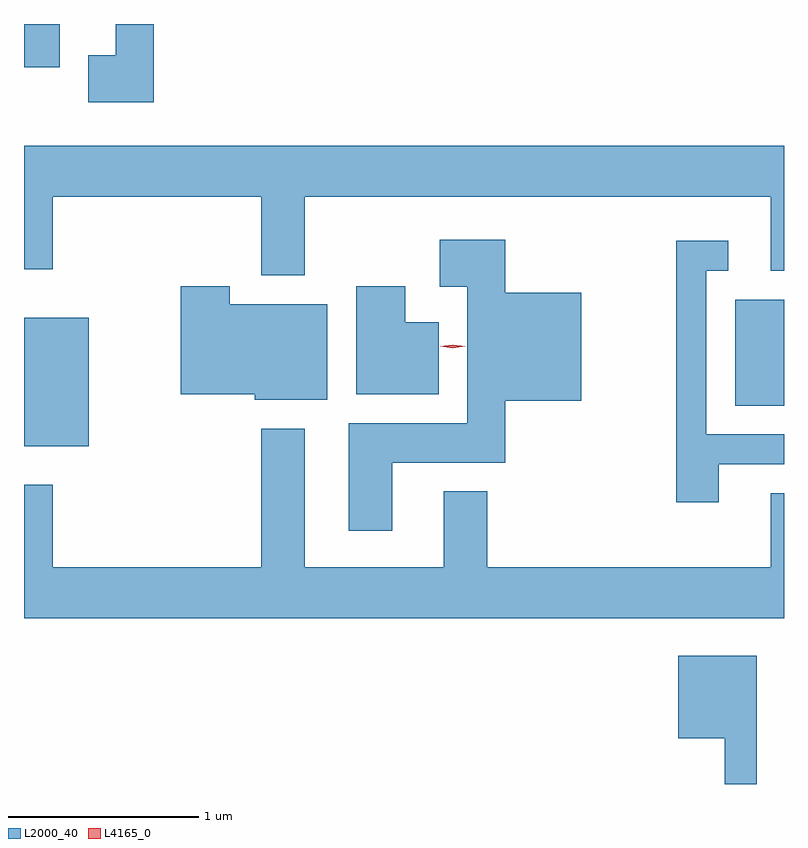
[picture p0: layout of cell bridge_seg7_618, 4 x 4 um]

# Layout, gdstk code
import gdstk
lib = gdstk.Library(unit=1e-6, precision=1e-09)
def R(c, l, rs):  # rectangles x0, y0, x1, y1
    for r in rs: c.add(gdstk.rectangle(r[:2], r[2:], *l))
def P(c, l, *ps):  # polygons
    for p in ps: c.add(gdstk.Polygon(p, *l))
L2000_40 = (2000, 40)
L4165_0 = (4165, 0)

bridge_seg7_618 = lib.new_cell('bridge_seg7_618')
R(bridge_seg7_618, L2000_40, [(821.612,1679.701,821.954,1680.379), (825.356,1679.916,825.612,1680.474), (821.612,1681.696,821.799,1681.924)])
P(bridge_seg7_618, L2000_40, [(822.294,1681.924),(822.096,1681.924),(822.096,1681.759),(821.951,1681.759),(821.951,1681.511),(822.294,1681.511)],
  [(823.089,1681.016),(825.541,1681.016),(825.541,1680.626),(825.612,1680.626),(825.612,1681.284),(821.612,1681.284),(821.612,1680.633),(821.764,1680.633),(821.764,1681.016),(822.861,1681.016),(822.861,1680.601),(823.089,1680.601)],
  [(823.549,1679.616),(824.144,1679.616),(824.144,1679.941),(824.544,1679.941),(824.544,1680.509),(824.144,1680.509),(824.144,1680.789),(823.801,1680.789),(823.801,1680.541),(823.946,1680.541),(823.946,1679.824),(823.321,1679.824),(823.321,1679.256),(823.549,1679.256)],
  [(825.269,1679.606),(825.612,1679.606),(825.612,1679.764),(825.204,1679.764),(825.204,1680.626),(825.318,1680.626),(825.318,1680.784),(825.046,1680.784),(825.046,1679.406),(825.269,1679.406)],
  [(823.209,1680.449),(822.694,1680.449),(822.694,1680.544),(822.436,1680.544),(822.436,1679.976),(822.826,1679.976),(822.826,1679.946),(823.209,1679.946)],
  [(823.794,1680.354),(823.619,1680.354),(823.619,1680.544),(823.361,1680.544),(823.361,1679.976),(823.794,1679.976)],
  [(825.612,1679.454),(825.541,1679.454),(825.541,1679.064),(824.049,1679.064),(824.049,1679.464),(823.821,1679.464),(823.821,1679.064),(823.089,1679.064),(823.089,1679.794),(822.861,1679.794),(822.861,1679.064),(821.764,1679.064),(821.764,1679.498),(821.612,1679.498),(821.612,1678.796),(825.612,1678.796)],
  [(825.469,1678.599),(825.056,1678.599),(825.056,1678.166),(825.301,1678.166),(825.301,1677.924),(825.469,1677.924)])
P(bridge_seg7_618, L4165_0, [(823.868,1680.217),(823.802,1680.227),(823.801,1680.227),(823.802,1680.228),(823.868,1680.237),(823.934,1680.228),(823.934,1680.227),(823.934,1680.227)])

lib.write_gds('bridge_seg7_618.gds')
